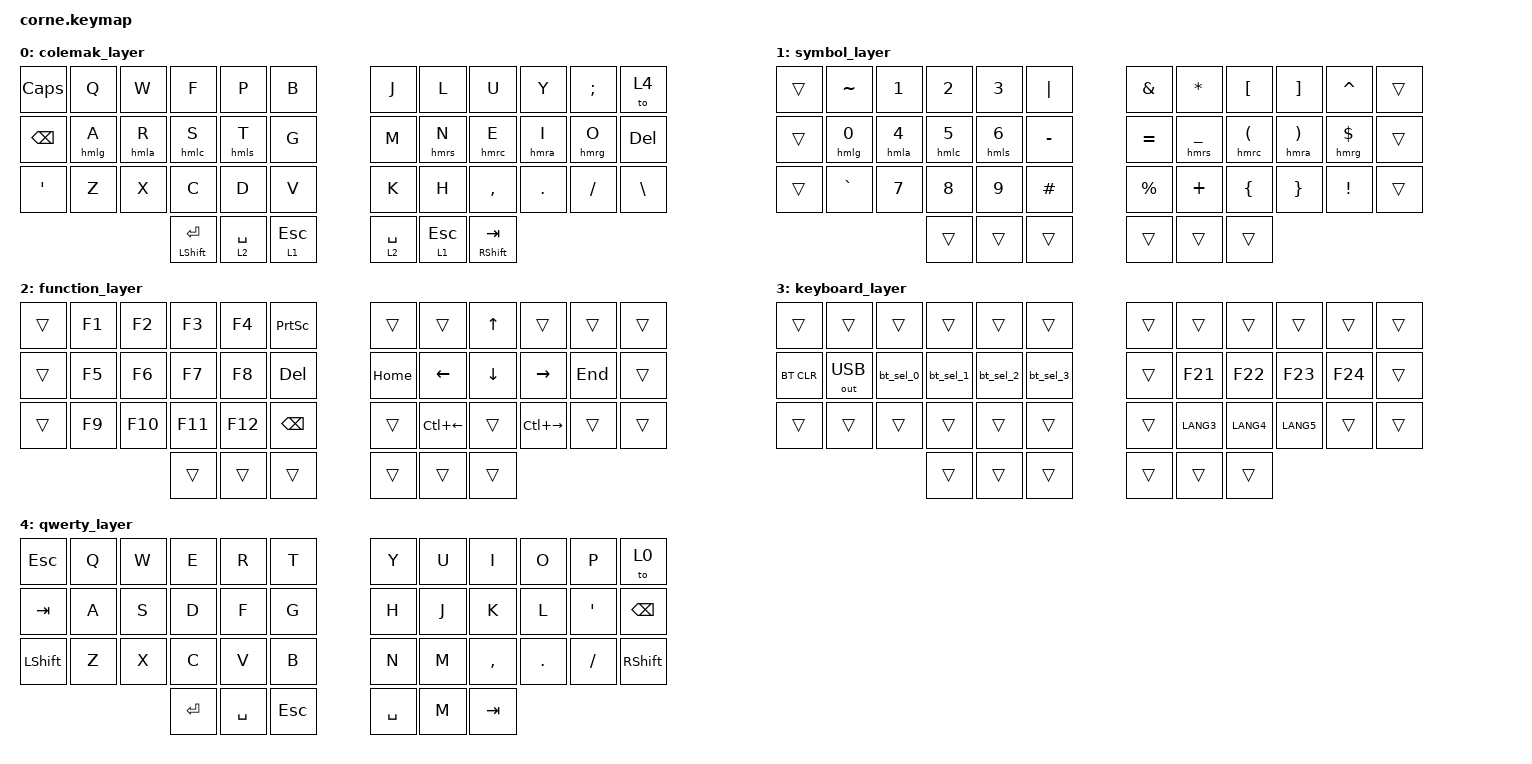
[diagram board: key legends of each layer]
/*
 * Copyright (c) 2020 The ZMK Contributors
 *
 * SPDX-License-Identifier: MIT
 */

#include <behaviors.dtsi>
#include <dt-bindings/zmk/keys.h>
#include <dt-bindings/zmk/outputs.h>
#include <dt-bindings/zmk/bt.h>

#include "./keypos_def/keypos_42keys.h"                                                 // keyposition helpers
#define KEYS_L LT0 LT1 LT2 LT3 LT4 LT5 LM0 LM1 LM2 LM3 LM4 LM5 LB0 LB1 LB2 LB3 LB4 LB5  // left-hand keys
#define KEYS_R RT0 RT1 RT2 RT3 RT4 RT5 RM0 RM1 RM2 RM3 RM4 RM5 RB0 RB1 RB2 RB3 RB4 RB5  // right-hand keys
#define THUMBS LH2 LH1 LH0 RH0 RH1 RH2                                                  // thumb keys

#define XXX  &none
#define ___  &trans
#define hmls hml LSHFT
#define hmrs hmr RSHFT
#define hmlc hml LCTRL
#define hmrc hmr RCTRL
#define hmla hml LALT
#define hmra hmr RALT
#define hmlg hml LGUI
#define hmrg hmr RGUI

#define COMBO_TIMEOUT_SHORT 30

&lt {
    flavor = "balanced";
    tapping-term-ms = <200>;
};

/ {
    behaviors {
        tlt: thumb_layer_tap_preferred {
            compatible = "zmk,behavior-hold-tap";
            #binding-cells = <2>;
            tapping-term-ms = <200>;
            quick-tap-ms = <250>;
            flavor = "tap-preferred";
            bindings = <&mo>, <&kp>;
        };

        tlh: thumb_layer_hold_preferred {
            compatible = "zmk,behavior-hold-tap";
            #binding-cells = <2>;
            tapping-term-ms = <200>;
            quick-tap-ms = <0>;
            flavor = "hold-preferred";
            bindings = <&mo>, <&kp>;
        };

        hml: home_row_mode_left {
            compatible = "zmk,behavior-hold-tap";
            #binding-cells = <2>;
            tapping-term-ms = <200>;
            quick-tap-ms = <250>;
            require-prior-idle-ms = <75>;
            flavor = "balanced";
            bindings = <&kp>, <&kp>;
            hold-trigger-key-positions = <KEYS_R THUMBS>;
            hold-trigger-on-release;
            hold-while-undecided;
        };

        hmr: home_row_mode_right {
            compatible = "zmk,behavior-hold-tap";
            #binding-cells = <2>;
            tapping-term-ms = <200>;
            quick-tap-ms = <250>;
            require-prior-idle-ms = <75>;
            flavor = "balanced";
            bindings = <&kp>, <&kp>;
            hold-trigger-key-positions = <KEYS_L THUMBS>;
            hold-trigger-on-release;
            hold-while-undecided;
        };

        comma_qmark: comma_qmark {
            compatible = "zmk,behavior-mod-morph";
            #binding-cells = <0>;
            bindings = <&kp COMMA>, <&kp QMARK>;
            mods = <(MOD_LSFT|MOD_RSFT)>;
        };

        dot_excl: dot_excl {
            compatible = "zmk,behavior-mod-morph";
            #binding-cells = <0>;
            bindings = <&kp DOT>, <&kp EXCL>;
            mods = <(MOD_LSFT|MOD_RSFT)>;
        };
    };
    macros {
        // (|)
        pair_par: pair_par {
            compatible = "zmk,behavior-macro";
            #binding-cells = <0>;
            wait-ms = <10>;
            tap-ms = <10>;
            bindings = <&kp LPAR &kp RPAR &kp LEFT>;
        };
        // [|]
        pair_bkt: pair_bkt {
            compatible = "zmk,behavior-macro";
            #binding-cells = <0>;
            wait-ms = <10>;
            tap-ms = <10>;
            bindings = <&kp LBKT &kp RBKT &kp LEFT>;
        };
        // {|}
        pair_brc: pair_brc {
            compatible = "zmk,behavior-macro";
            #binding-cells = <0>;
            wait-ms = <10>;
            tap-ms = <10>;
            bindings = <&kp LBRC &kp RBRC &kp LEFT>;
        };
        // '|'
        pair_sqt: pair_sqt {
            compatible = "zmk,behavior-macro";
            #binding-cells = <0>;
            wait-ms = <10>;
            tap-ms = <10>;
            bindings = <&kp SQT &kp SQT &kp LEFT>;
        };
        // "|"
        pair_dqt: pair_dqt {
            compatible = "zmk,behavior-macro";
            #binding-cells = <0>;
            wait-ms = <10>;
            tap-ms = <10>;
            bindings = <&kp DQT &kp DQT &kp LEFT>;
        };
        // `|`
        pair_btk: pair_btk {
            compatible = "zmk,behavior-macro";
            #binding-cells = <0>;
            wait-ms = <10>;
            tap-ms = <10>;
            bindings = <&kp GRAVE &kp GRAVE &kp LEFT>;
        };
        // ```|```
        pair_cbk: pair_cbk {
            compatible = "zmk,behavior-macro";
            #binding-cells = <0>;
            wait-ms = <10>;
            tap-ms = <10>;
            bindings = <&kp GRAVE &kp GRAVE &kp GRAVE &kp GRAVE &kp GRAVE &kp GRAVE &kp LEFT &kp LEFT &kp LEFT>;
        };
        // change bluetooth device
        bt_sel_0: bt_sel_0 {
            compatible = "zmk,behavior-macro";
            #binding-cells = <0>;
            wait-ms = <10>;
            tap-ms = <10>;
            bindings = <&out OUT_BLE &bt BT_SEL 0>;
        };
        bt_sel_1: bt_sel_1 {
            compatible = "zmk,behavior-macro";
            #binding-cells = <0>;
            wait-ms = <10>;
            tap-ms = <10>;
            bindings = <&out OUT_BLE &bt BT_SEL 1>;
        };
        bt_sel_2: bt_sel_2 {
            compatible = "zmk,behavior-macro";
            #binding-cells = <0>;
            wait-ms = <10>;
            tap-ms = <10>;
            bindings = <&out OUT_BLE &bt BT_SEL 2>;
        };
        bt_sel_3: bt_sel_3 {
            compatible = "zmk,behavior-macro";
            #binding-cells = <0>;
            wait-ms = <10>;
            tap-ms = <10>;
            bindings = <&out OUT_BLE &bt BT_SEL 3>;
        };
        bt_sel_4: bt_sel_4 {
            compatible = "zmk,behavior-macro";
            #binding-cells = <0>;
            wait-ms = <10>;
            tap-ms = <10>;
            bindings = <&out OUT_BLE &bt BT_SEL 4>;
        };
    };

    /*  KEY POSITIONS
        ╭─────────────────────────┬─────────────────────────╮
        │ LT5 LT4 LT3 LT2 LT1 LT0 │ RT0 RT1 RT2 RT3 RT4 RT5 │
        │ LM5 LM4 LM3 LM2 LM1 LM0 │ RM0 RM1 RM2 RM3 RM4 RM5 │
        │ LB5 LB4 LB3 LB2 LB1 LB0 │ RB0 RB1 RB2 RB3 RB4 RB5 │
        ╰───────────╮ LH2 LH1 LH0 │ RH0 RH1 RH2 ╭───────────╯
                    ╰─────────────┴─────────────╯             */

    combos {
        compatible = "zmk,combos";
        combo_bkt { // [|]
            timeout-ms = <COMBO_TIMEOUT_SHORT>;
            key-positions = <RT2 RT3>;
            bindings = <&pair_bkt>;
            layers = <0 1 2 3>;
        };
        combo_par { // (|)
            timeout-ms = <COMBO_TIMEOUT_SHORT>;
            key-positions = <RM2 RM3>; // ei
            bindings = <&pair_par>;
            layers = <0 1 2 3>;
        };
        combo_brc { // {|}
            timeout-ms = <COMBO_TIMEOUT_SHORT>;
            key-positions = <RB2 RB3>; // ,.
            bindings = <&pair_brc>;
            layers = <0 1 2 3>;
        };
        combo_btk { // `|`
            timeout-ms = <COMBO_TIMEOUT_SHORT>;
            key-positions = <RT3 RT4>; // y;
            bindings = <&pair_btk>;
            layers = <0 1 2 3>;
        };
        combo_sqt { // '|'
            timeout-ms = <COMBO_TIMEOUT_SHORT>;
            key-positions = <RM3 RM4>; // io
            bindings = <&pair_sqt>;
            layers = <0 1 2 3>;
        };
        combo_dqt { // "|"
            timeout-ms = <COMBO_TIMEOUT_SHORT>;
            key-positions = <RB3 RB4>; // ./
            bindings = <&pair_dqt>;
            layers = <0 1 2 3>;
        };
    };

    conditional_layers {
        compatible = "zmk,conditional-layers";
        tri_layer {
            if-layers = <1 2>;
            then-layer = <3>;
        };
    };

    keymap {
        compatible = "zmk,keymap";
        colemak_layer {
            bindings = <
// ╭─────────────┬─────────────┬─────────────┬─────────────┬─────────────┬─────────────╮   ╭─────────────┬─────────────┬─────────────┬─────────────┬─────────────┬─────────────╮
    &kp CAPS      &kp Q         &kp W         &kp F         &kp P         &kp B             &kp J         &kp L         &kp U         &kp Y         &kp SEMI      &to 4
// ├─────────────┼─────────────┼─────────────┼─────────────┼─────────────┼─────────────┤   ├─────────────┼─────────────┼─────────────┼─────────────┼─────────────┼─────────────┤
    &kp BSPC      &hmlg A       &hmla R       &hmlc S       &hmls T       &kp G             &kp M         &hmrs N       &hmrc E       &hmra I       &hmrg O       &kp DEL
// ├─────────────┼─────────────┼─────────────┼─────────────┼─────────────┼─────────────┤   ├─────────────┼─────────────┼─────────────┼─────────────┼─────────────┼─────────────┤
    &kp SQT       &kp Z         &kp X         &kp C         &kp D         &kp V             &kp K         &kp H         &kp COMMA     &kp DOT       &kp FSLH      &kp BSLH
// ╰─────────────┴─────────────┴─────────────┼─────────────┼─────────────┼─────────────┤   ├─────────────┼─────────────┼─────────────┼─────────────┴─────────────┴─────────────╯
                                              &mt LSHFT RET &tlt 2 SPACE  &lt 1 ESC         &lt 2 SPACE   &tlh 1 ESC    &mt RSHFT TAB
//                                           ╰─────────────┴─────────────┴─────────────╯   ╰─────────────┴─────────────┴─────────────╯
            >;
        };
        symbol_layer {
            bindings = <
// ╭─────────────┬─────────────┬─────────────┬─────────────┬─────────────┬─────────────╮   ╭─────────────┬─────────────┬─────────────┬─────────────┬─────────────┬─────────────╮
    ___           &kp TILDE     &kp N1        &kp N2        &kp N3        &kp PIPE          &kp AMPS      &kp STAR      &kp LBKT      &kp RBKT      &kp CARET     ___
// ├─────────────┼─────────────┼─────────────┼─────────────┼─────────────┼─────────────┤   ├─────────────┼─────────────┼─────────────┼─────────────┼─────────────┼─────────────┤
    ___           &hmlg N0      &hmla N4      &hmlc N5      &hmls N6      &kp MINUS         &kp EQUAL     &hmrs UNDER   &hmrc LPAR    &hmra RPAR    &hmrg DLLR    ___
// ├─────────────┼─────────────┼─────────────┼─────────────┼─────────────┼─────────────┤   ├─────────────┼─────────────┼─────────────┼─────────────┼─────────────┼─────────────┤
    ___           &kp GRAVE     &kp N7        &kp N8        &kp N9        &kp HASH          &kp PRCNT     &kp PLUS      &kp LBRC      &kp RBRC      &kp EXCL      ___
// ╰─────────────┴─────────────┴─────────────┼─────────────┼─────────────┼─────────────┤   ├─────────────┼─────────────┼─────────────┼─────────────┴─────────────┴─────────────╯
                                              ___           ___           ___               ___           ___           ___
//                                           ╰─────────────┴─────────────┴─────────────╯   ╰─────────────┴─────────────┴─────────────╯
            >;
        };
        function_layer {
            bindings = <
// ╭─────────────┬─────────────┬─────────────┬─────────────┬─────────────┬─────────────╮   ╭─────────────┬─────────────┬─────────────┬─────────────┬─────────────┬─────────────╮
    ___           &kp F1        &kp F2        &kp F3        &kp F4        &kp PSCRN         ___           ___           &kp UP        ___           ___           ___
// ├─────────────┼─────────────┼─────────────┼─────────────┼─────────────┼─────────────┤   ├─────────────┼─────────────┼─────────────┼─────────────┼─────────────┼─────────────┤
    ___           &kp F5        &kp F6        &kp F7        &kp F8        &kp DEL           &kp HOME      &kp LEFT      &kp DOWN      &kp RIGHT     &kp END       ___
// ├─────────────┼─────────────┼─────────────┼─────────────┼─────────────┼─────────────┤   ├─────────────┼─────────────┼─────────────┼─────────────┼─────────────┼─────────────┤
    ___           &kp F9        &kp F10       &kp F11       &kp F12       &kp BSPC          ___           &kp LC(LEFT)  ___           &kp LC(RIGHT) ___           ___
// ╰─────────────┴─────────────┴─────────────┼─────────────┼─────────────┼─────────────┤   ├─────────────┼─────────────┼─────────────┼─────────────┴─────────────┴─────────────╯
                                              ___           ___           ___               ___           ___           ___
//                                           ╰─────────────┴─────────────┴─────────────╯   ╰─────────────┴─────────────┴─────────────╯
            >;
        };
        keyboard_layer {
            bindings = <
// ╭─────────────┬─────────────┬─────────────┬─────────────┬─────────────┬─────────────╮   ╭─────────────┬─────────────┬─────────────┬─────────────┬─────────────┬─────────────╮
    ___           ___           ___           ___           ___           ___               ___           ___           ___           ___           ___           ___
// ├─────────────┼─────────────┼─────────────┼─────────────┼─────────────┼─────────────┤   ├─────────────┼─────────────┼─────────────┼─────────────┼─────────────┼─────────────┤
    &bt BT_CLR    &out OUT_USB  &bt_sel_0     &bt_sel_1     &bt_sel_2     &bt_sel_3         ___           &kp F21       &kp F22       &kp F23       &kp F24       ___
// ├─────────────┼─────────────┼─────────────┼─────────────┼─────────────┼─────────────┤   ├─────────────┼─────────────┼─────────────┼─────────────┼─────────────┼─────────────┤
    ___           ___           ___           ___           ___           ___               ___           &kp LANG3     &kp LANG4     &kp LANG5     ___           ___
// ╰─────────────┴─────────────┴─────────────┼─────────────┼─────────────┼─────────────┤   ├─────────────┼─────────────┼─────────────┼─────────────┴─────────────┴─────────────╯
                                              ___           ___           ___               ___           ___           ___
//                                           ╰─────────────┴─────────────┴─────────────╯   ╰─────────────┴─────────────┴─────────────╯
            >;
        };
        qwerty_layer {
            bindings = <
// ╭─────────────┬─────────────┬─────────────┬─────────────┬─────────────┬─────────────╮   ╭─────────────┬─────────────┬─────────────┬─────────────┬─────────────┬─────────────╮
    &kp ESC       &kp Q         &kp W         &kp E         &kp R         &kp T             &kp Y         &kp U         &kp I         &kp O         &kp P         &to 0
// ├─────────────┼─────────────┼─────────────┼─────────────┼─────────────┼─────────────┤   ├─────────────┼─────────────┼─────────────┼─────────────┼─────────────┼─────────────┤
    &kp TAB       &kp A         &kp S         &kp D         &kp F         &kp G             &kp H         &kp J         &kp K         &kp L         &kp SQT       &kp BSPC
// ├─────────────┼─────────────┼─────────────┼─────────────┼─────────────┼─────────────┤   ├─────────────┼─────────────┼─────────────┼─────────────┼─────────────┼─────────────┤
    &kp LSHFT     &kp Z         &kp X         &kp C         &kp V         &kp B             &kp N         &kp M         &kp COMMA     &kp DOT       &kp FSLH      &kp RSHFT
// ╰─────────────┴─────────────┴─────────────┼─────────────┼─────────────┼─────────────┤   ├─────────────┼─────────────┼─────────────┼─────────────┴─────────────┴─────────────╯
                                              &kp RET       &kp SPACE     &kp ESC           &kp SPACE     &kp M         &kp TAB
//                                           ╰─────────────┴─────────────┴─────────────╯   ╰─────────────┴─────────────┴─────────────╯
            >;
        };
    };
};
